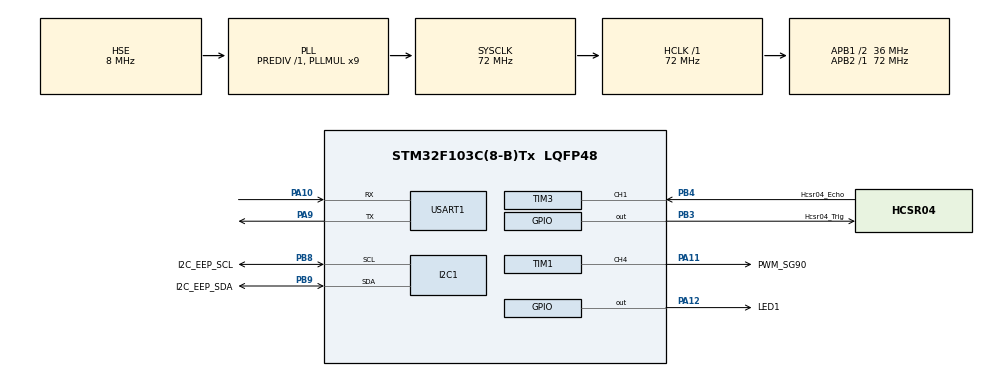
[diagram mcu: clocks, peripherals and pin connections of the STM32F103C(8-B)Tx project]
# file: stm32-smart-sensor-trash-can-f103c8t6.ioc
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Mcu.Family=STM32F1
Mcu.Name=STM32F103C(8-B)Tx
Mcu.Package=LQFP48
NVIC.PriorityGroup=NVIC_PRIORITYGROUP_2
NVIC.TIM3_IRQn=true\:0\:0\:false\:true\:true\:1\:true\:true\:true
NVIC.USART1_IRQn=true\:0\:2\:false\:true\:true\:2\:true\:true\:true
PA10.Mode=Asynchronous
PA10.Signal=USART1_RX
PA11.GPIO_Label=PWM_SG90
PA11.Signal=S_TIM1_CH4
PA12.GPIO_Label=LED1
PA12.Signal=GPIO_Output
PA13.Mode=Serial_Wire
PA13.Signal=SYS_JTMS-SWDIO
PA14.Mode=Serial_Wire
PA14.Signal=SYS_JTCK-SWCLK
PA9.Mode=Asynchronous
PA9.Signal=USART1_TX
PB3.GPIO_Label=Hcsr04_Trig
PB3.Signal=GPIO_Output
PB4.GPIO_Label=Hcsr04_Echo
PB4.Signal=S_TIM3_CH1
PB8.GPIO_Label=I2C_EEP_SCL
PB8.GPIO_Mode=GPIO_MODE_AF_OD
PB8.Mode=I2C
PB8.Signal=I2C1_SCL
PB9.GPIO_Label=I2C_EEP_SDA
PB9.Mode=I2C
PB9.Signal=I2C1_SDA
PD0-OSC_IN.Mode=HSE-External-Oscillator
PD0-OSC_IN.Signal=RCC_OSC_IN
PD1-OSC_OUT.Mode=HSE-External-Oscillator
PD1-OSC_OUT.Signal=RCC_OSC_OUT
ProjectManager.HeapSize=0x200
ProjectManager.StackSize=0x400
ProjectManager.TargetToolchain=CMake
RCC.AHBFreq_Value=72000000
RCC.APB1CLKDivider=RCC_HCLK_DIV2
RCC.APB1Freq_Value=36000000
RCC.APB1TimFreq_Value=72000000
RCC.APB2Freq_Value=72000000
RCC.APB2TimFreq_Value=72000000
RCC.HCLKFreq_Value=72000000
RCC.PLLMUL=RCC_PLL_MUL9
RCC.PLLSourceVirtual=RCC_PLLSOURCE_HSE
RCC.SYSCLKFreq_VALUE=72000000
RCC.SYSCLKSource=RCC_SYSCLKSOURCE_PLLCLK
RCC.USBFreq_Value=72000000
SH.S_TIM1_CH4.0=TIM1_CH4,PWM Generation4 CH4
SH.S_TIM3_CH1.0=TIM3_CH1,Input_Capture1_from_TI1
TIM1.Channel-PWM\ Generation4\ CH4=TIM_CHANNEL_4
TIM1.Period=19999
TIM1.Prescaler=71
TIM3.Channel-Input_Capture1_from_TI1=TIM_CHANNEL_1
TIM3.Prescaler=71
USART1.VirtualMode=VM_ASYNC
VP_TIM1_VS_ClockSourceINT.Mode=Internal
board=custom

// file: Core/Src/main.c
/* USER CODE BEGIN Header */
/**
  ******************************************************************************
  * @file           : main.c
  * @brief          : Main program body
  ******************************************************************************
  * @attention
  *
  * Copyright (c) 2026 STMicroelectronics.
  * All rights reserved.
  *
  * This software is licensed under terms that can be found in the LICENSE file
  * in the root directory of this software component.
  * If no LICENSE file comes with this software, it is provided AS-IS.
  *
  ******************************************************************************
  */
/* USER CODE END Header */
#include "main.h"
#include "i2c.h"
#include "tim.h"
#include "usart.h"
#include "gpio.h"

/* USER CODE BEGIN Includes */
#if (ENABLE_UART_DEBUG == 1)
#include "debug.h"
#endif
#include "bsp_hcsr04.h"
#include "bsp_sg90.h"
#include "bsp_eeprom.h"
/* USER CODE END Includes */

/* USER CODE BEGIN PV */
hcsr04_dev_t hcsr04_1;
sg90_dev_t sg90;
eeprom_dev_t eeprom_08;
/* USER CODE END PV */

void SystemClock_Config(void);
static void MX_NVIC_Init(void);

/* USER CODE BEGIN 0 */
void HAL_TIM_IC_CaptureCallback(TIM_HandleTypeDef *htim)
{
  hcsr04_timer_isr(&hcsr04_1, htim);
}
/* USER CODE END 0 */

int main(void)
{

  /* USER CODE BEGIN 1 */
  static led_state_t led1_state = LED_OFF;
  static uint32_t last_led1_toggle_tick = 0;
  UNUSED(last_led1_toggle_tick);
  UNUSED(led1_state);

  static uint32_t dist = 0;

  static lid_state_t lid_state = LID_CLOSED;
  static uint32_t lid_open_tick = 0;

  // ===== Contextual adaptive variable =====
  static uint16_t current_hold_time = LID_HOLD_TIME;
  static uint16_t saved_hold_time;   // save in eeprom
  static uint16_t normal_use_count = 0;
  static uint32_t last_close_tick = 0;
  static bool need_cool_down_check = false;          // turn TRUE after lid fully closed
  #define EEPROM_HOLD_TIME_ADDR   0x0000
  #define COOL_DOWN_TIMEOUT       15000   // timeout for check nobody is using
  #define TIME_INCREMENT          1000    // for increase current_hold_time
  #define TIME_DECREMENT          200     // for decrease current_hold_time
  #define MAX_HOLD_TIME           20000
  #define MIN_HOLD_TIME           1000
  #define DECREASE_THRESHOLD      10      // for normal use
  // ========================================
  /* USER CODE END 1 */

  /* MCU Configuration--------------------------------------------------------*/

  /* Reset of all peripherals, Initializes the Flash interface and the Systick. */
  HAL_Init();

  /* Configure the system clock */
  SystemClock_Config();

  /* Initialize all configured peripherals */
  MX_GPIO_Init();
  MX_USART1_UART_Init();
  MX_TIM3_Init();
  MX_TIM1_Init();
  MX_I2C1_Init();

  /* Initialize interrupts */
  MX_NVIC_Init();
  /* USER CODE BEGIN 2 */
  // ===== init device =====
  DWT_Delay_Init();
  LOG_INFO("System Clock: %lu\n", HAL_RCC_GetHCLKFreq());
  hcsr04_init_dev(&hcsr04_1, &htim3, TIM_CHANNEL_1,
    HAL_TIM_ACTIVE_CHANNEL_1, Hcsr04_Trig_GPIO_Port, Hcsr04_Trig_Pin);
  sg90_init_dev(&sg90, &htim1, TIM_CHANNEL_4);
  eeprom_init_dev(&eeprom_08, &hi2c1, EEP_MODEL_AT24C08, 0);
  // =======================
  // ==== read use data in eeprom ====
  LOG_INFO("Reading configuration from EEPROM...\n");
  if (eeprom_read(&eeprom_08, EEPROM_HOLD_TIME_ADDR, (uint8_t *)&saved_hold_time, sizeof(saved_hold_time)) == I2C_STATE_OK)
  {
    if ((saved_hold_time >= MIN_HOLD_TIME) && (saved_hold_time <= MAX_HOLD_TIME))
    {
      current_hold_time = saved_hold_time;
      LOG_INFO("Restored user setting from EEPROM: %lu ms\n", saved_hold_time);
    }
    else
    {
      current_hold_time = LID_HOLD_TIME;
      saved_hold_time = LID_HOLD_TIME;
      eeprom_write(&eeprom_08, EEPROM_HOLD_TIME_ADDR, (uint8_t *)&saved_hold_time, sizeof(saved_hold_time));
      LOG_INFO("Invalid EEPROM data. Initialized with default: %d ms\n", LID_HOLD_TIME);
    }
  }
  else
  {
    LOG_ERR("Please check eeprom state!\n");
  }
  // =================================
  /* USER CODE END 2 */

  /* Infinite loop */
  while (1)
  {

    /* USER CODE BEGIN 3 */
#if (ENABLE_UART_DEBUG == 1)
    debug_command_handler();
#endif

    // update HCSR04 distance data
    hcsr04_process(&hcsr04_1);

    if (hcsr04_is_data_ready(&hcsr04_1))
    {
      dist = hcsr04_get_distance(&hcsr04_1);
      uint32_t current_tick = HAL_GetTick();
      // LOG_DEBUG("Dist: %lu.%lu cm\n", dist / 10, dist % 10);
      switch (lid_state)
      {
        case LID_CLOSED:
        {
          // update `saved_hold_time` if nobody uses after [last_close_tick + COOL_DOWN_TIMEOUT] ms
          if (need_cool_down_check && (current_tick - last_close_tick > COOL_DOWN_TIMEOUT))
          {
            need_cool_down_check = false;
            if (current_hold_time > saved_hold_time)
            {
              // continuous used
              saved_hold_time = current_hold_time;
              eeprom_write(&eeprom_08, EEPROM_HOLD_TIME_ADDR, (uint8_t *)&saved_hold_time, sizeof(saved_hold_time));
              normal_use_count = 0;
              LOG_INFO("Habit recorded! Saving extended time %lu ms to EEPROM.\n", saved_hold_time);
            }
            else
            {
              // normal used
              normal_use_count++;
              if (normal_use_count >= DECREASE_THRESHOLD && current_hold_time > LID_HOLD_TIME)
              {
                current_hold_time -= TIME_DECREMENT;

                if (current_hold_time < LID_HOLD_TIME)
                  current_hold_time = LID_HOLD_TIME;

                saved_hold_time = current_hold_time;
                eeprom_write(&eeprom_08, EEPROM_HOLD_TIME_ADDR, (uint8_t *)&saved_hold_time, sizeof(saved_hold_time));
                normal_use_count = 0;
                LOG_INFO("System cooled down. Gradually reducing hold time to: %lu ms\n", saved_hold_time);
              }
            }
          }
          // open lib
          if (dist < 100 && dist > 20)
          {
            // check if need to update `current_hold_time`
            if (last_close_tick != 0)
            {
              // continuous used, update `current_hold_time` if elapsed time < 5s
              if ((current_tick - last_close_tick) < 5000)
              {
                current_hold_time += TIME_INCREMENT;

                if (current_hold_time > MAX_HOLD_TIME)
                {
                  current_hold_time = MAX_HOLD_TIME;
                }

                normal_use_count = 0;
                LOG_INFO("Continuous use! Dynamic hold time: %lu ms\n", current_hold_time);
              }
            }
            sg90_set_angle(&sg90, (uint16_t)LID_OPEN_ANGLE);
            lid_open_tick = HAL_GetTick();      // record tick of opening lib
            lid_state = LID_OPENING;
            HAL_GPIO_WritePin(LED1_GPIO_Port, LED1_Pin, GPIO_PIN_SET);
            LOG_INFO("Object detected! Opening lid...\n");
          }
          break;
        }
        case LID_OPENING:
        {
          static uint32_t _detection_count = 0;
          if (dist < 100 && dist > 20)
          {
            _detection_count++;
            if (_detection_count >= 8)
            {
              lid_open_tick = HAL_GetTick();  // reset counter
              LOG_INFO("Keeping lid open...\n");
            }
          }
          else
          {
            _detection_count = 0;
          }

          if ((HAL_GetTick() - lid_open_tick >= current_hold_time) && (_detection_count == 0))
          {
            sg90_set_angle(&sg90, (uint16_t)LID_CLOSE_ANGLE);
            lid_open_tick = HAL_GetTick();
            lid_state = LID_CLOSING;
            HAL_GPIO_WritePin(LED1_GPIO_Port, LED1_Pin, GPIO_PIN_RESET);
            LOG_INFO("Time up! Closing lid...\n");
          }
          break;
        }
        case LID_CLOSING:
        {
          if (lid_state == LID_CLOSING)
          {
            if (HAL_GetTick() - lid_open_tick >= LID_CLOSING_TIME)
            {
              lid_state = LID_CLOSED;
              last_close_tick = HAL_GetTick();
              need_cool_down_check = true;     // start cool down after lid closed
              LOG_INFO("Lid fully closed. Ready for next trigger.\n");
            }
          }
          break;
        }
        default:
          break;
      }
    }
  }
  /* USER CODE END 3 */
}

void SystemClock_Config(void)
{
  RCC_OscInitTypeDef RCC_OscInitStruct = {0};
  RCC_ClkInitTypeDef RCC_ClkInitStruct = {0};

  /** Initializes the RCC Oscillators according to the specified parameters
  * in the RCC_OscInitTypeDef structure.
  */
  RCC_OscInitStruct.OscillatorType = RCC_OSCILLATORTYPE_HSE;
  RCC_OscInitStruct.HSEState = RCC_HSE_ON;
  RCC_OscInitStruct.HSEPredivValue = RCC_HSE_PREDIV_DIV1;
  RCC_OscInitStruct.HSIState = RCC_HSI_ON;
  RCC_OscInitStruct.PLL.PLLState = RCC_PLL_ON;
  RCC_OscInitStruct.PLL.PLLSource = RCC_PLLSOURCE_HSE;
  RCC_OscInitStruct.PLL.PLLMUL = RCC_PLL_MUL9;
  if (HAL_RCC_OscConfig(&RCC_OscInitStruct) != HAL_OK)
  {
    Error_Handler();
  }

  /** Initializes the CPU, AHB and APB buses clocks
  */
  RCC_ClkInitStruct.ClockType = RCC_CLOCKTYPE_HCLK|RCC_CLOCKTYPE_SYSCLK
                              |RCC_CLOCKTYPE_PCLK1|RCC_CLOCKTYPE_PCLK2;
  RCC_ClkInitStruct.SYSCLKSource = RCC_SYSCLKSOURCE_PLLCLK;
  RCC_ClkInitStruct.AHBCLKDivider = RCC_SYSCLK_DIV1;
  RCC_ClkInitStruct.APB1CLKDivider = RCC_HCLK_DIV2;
  RCC_ClkInitStruct.APB2CLKDivider = RCC_HCLK_DIV1;

  if (HAL_RCC_ClockConfig(&RCC_ClkInitStruct, FLASH_LATENCY_2) != HAL_OK)
  {
    Error_Handler();
  }
}

/**
  * @brief NVIC Configuration.
  * @retval None
  */
static void MX_NVIC_Init(void)
{
  /* TIM3_IRQn interrupt configuration */
  HAL_NVIC_SetPriority(TIM3_IRQn, 0, 0);
  HAL_NVIC_EnableIRQ(TIM3_IRQn);
  /* USART1_IRQn interrupt configuration */
  HAL_NVIC_SetPriority(USART1_IRQn, 0, 2);
  HAL_NVIC_EnableIRQ(USART1_IRQn);
}

void Error_Handler(void)
{
  __disable_irq();
  while (1)
  {
  }
}
